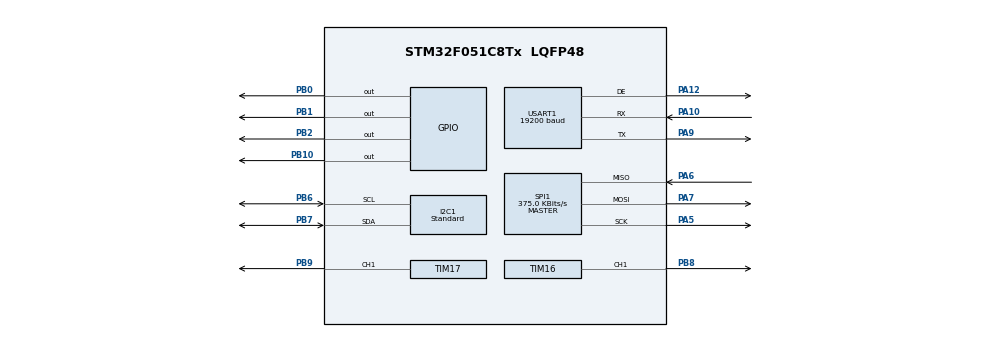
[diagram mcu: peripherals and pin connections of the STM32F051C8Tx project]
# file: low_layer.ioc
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ADC.ClockPrescaler=ADC_CLOCK_ASYNC_DIV1
ADC.ContinuousConvMode=DISABLE
ADC.DMAContinuousRequests=DISABLE
ADC.DataAlign=ADC_DATAALIGN_RIGHT
ADC.DiscontinuousConvMode=DISABLE
ADC.EOCSelection=ADC_EOC_SINGLE_CONV
ADC.EnableAnalogWatchDog=false
ADC.ExternalTrigConv=ADC_SOFTWARE_START
ADC.ExternalTrigConvEdge=ADC_EXTERNALTRIGCONVEDGE_NONE
ADC.LowPowerAutoPowerOff=DISABLE
ADC.LowPowerAutoWait=DISABLE
ADC.Overrun=ADC_OVR_DATA_PRESERVED
ADC.Resolution=ADC_RESOLUTION_10B
ADC.SamplingTime=ADC_SAMPLETIME_55CYCLES_5
ADC.ScanConvMode=ADC_SCAN_DIRECTION_FORWARD
I2C1.Analog_Filter=I2C_ANALOGFILTER_ENABLE
I2C1.I2C_Speed_Mode=I2C_Standard
I2C1.Timing=0x20303E5D
Mcu.Family=STM32F0
Mcu.Name=STM32F051C8Tx
Mcu.Package=LQFP48
NVIC.TIM6_DAC_IRQn=true\:0\:0\:false\:false\:true\:true
NVIC.USART1_IRQn=true\:0\:0\:false\:false\:true\:true
PA10.Mode=Asynchronous
PA10.Signal=USART1_RX
PA12.Mode=Hardware Flow Control (RS485)
PA12.Signal=USART1_DE
PA13.Mode=Serial_Wire
PA13.Signal=SYS_SWDIO
PA14.Mode=Serial_Wire
PA14.Signal=SYS_SWCLK
PA5.Mode=Full_Duplex_Master
PA5.Signal=SPI1_SCK
PA6.Mode=Full_Duplex_Master
PA6.Signal=SPI1_MISO
PA7.Mode=Full_Duplex_Master
PA7.Signal=SPI1_MOSI
PA9.Mode=Asynchronous
PA9.Signal=USART1_TX
PB0.Signal=GPIO_Output
PB1.Signal=GPIO_Output
PB10.Signal=GPIO_Output
PB2.Signal=GPIO_Output
PB6.Mode=I2C
PB6.Signal=I2C1_SCL
PB7.Mode=I2C
PB7.Signal=I2C1_SDA
PB8.Signal=S_TIM16_CH1
PB9.Signal=S_TIM17_CH1
PF0-OSC_IN.Mode=HSE-External-Oscillator
PF0-OSC_IN.Signal=RCC_OSC_IN
PF1-OSC_OUT.Mode=HSE-External-Oscillator
PF1-OSC_OUT.Signal=RCC_OSC_OUT
ProjectManager.HeapSize=0x200
ProjectManager.StackSize=0x400
ProjectManager.TargetToolchain=Other Toolchains (GPDSC)
RCC.AHBFreq_Value=48000000
RCC.APB1Freq_Value=48000000
RCC.APB1TimFreq_Value=48000000
RCC.FLatency=FLASH_LATENCY_1
RCC.HCLKFreq_Value=48000000
RCC.I2c1ClockSelection=RCC_I2C1CLKSOURCE_SYSCLK
RCC.PLLMUL=RCC_PLL_MUL6
RCC.PLLSourceVirtual=RCC_PLLSOURCE_HSE
RCC.SYSCLKFreq_VALUE=48000000
RCC.SYSCLKSource=RCC_SYSCLKSOURCE_PLLCLK
SH.S_TIM16_CH1.0=TIM16_CH1,PWM Generation1 CH1
SH.S_TIM17_CH1.0=TIM17_CH1,PWM Generation1 CH1
SPI1.BaudRatePrescaler=SPI_BAUDRATEPRESCALER_128
SPI1.CalculateBaudRate=375.0 KBits/s
SPI1.DataSize=SPI_DATASIZE_8BIT
SPI1.Direction=SPI_DIRECTION_2LINES
SPI1.Mode=SPI_MODE_MASTER
SPI1.NSSPMode=SPI_NSS_PULSE_DISABLE
SPI1.VirtualType=VM_MASTER
TIM16.Channel=TIM_CHANNEL_1
TIM16.Period=100
TIM16.Prescaler=480
TIM16.Pulse=50
TIM17.Channel=TIM_CHANNEL_1
TIM17.Period=100
TIM17.Pulse=50
USART1.BaudRate=19200
USART1.VirtualMode-Asynchronous=VM_ASYNC
USART1.VirtualMode-Hardware\ Flow\ Control\ (RS485)=VM_ASYNC
VP_ADC_TempSens_Input.Mode=IN-TempSens
VP_ADC_Vref_Input.Mode=IN-Vrefint
VP_RTC_VS_RTC_Activate.Mode=RTC_Enabled
VP_TIM16_VS_ClockSourceINT.Mode=Enable_Timer
VP_TIM17_VS_ClockSourceINT.Mode=Enable_Timer
VP_TIM6_VS_ClockSourceINT.Mode=Enable_Timer
VP_TIM6_VS_OPM.Mode=OPM_bit
board=custom

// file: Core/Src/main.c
/**
  ******************************************************************************
  * @file           : main.c
  * @brief          : Main program body
  ******************************************************************************
  ** This notice applies to any and all portions of this file
  * that are not between comment pairs USER CODE BEGIN and
  * USER CODE END. Other portions of this file, whether
  * inserted by the user or by software development tools
  * are owned by their respective copyright owners.
  *
  * COPYRIGHT(c) 2018 STMicroelectronics
  *
  * Redistribution and use in source and binary forms, with or without modification,
  * are permitted provided that the following conditions are met:
  *   1. Redistributions of source code must retain the above copyright notice,
  *      this list of conditions and the following disclaimer.
  *   2. Redistributions in binary form must reproduce the above copyright notice,
  *      this list of conditions and the following disclaimer in the documentation
  *      and/or other materials provided with the distribution.
  *   3. Neither the name of STMicroelectronics nor the names of its contributors
  *      may be used to endorse or promote products derived from this software
  *      without specific prior written permission.
  *
  * THIS SOFTWARE IS PROVIDED BY THE COPYRIGHT HOLDERS AND CONTRIBUTORS "AS IS"
  * AND ANY EXPRESS OR IMPLIED WARRANTIES, INCLUDING, BUT NOT LIMITED TO, THE
  * IMPLIED WARRANTIES OF MERCHANTABILITY AND FITNESS FOR A PARTICULAR PURPOSE ARE
  * DISCLAIMED. IN NO EVENT SHALL THE COPYRIGHT HOLDER OR CONTRIBUTORS BE LIABLE
  * FOR ANY DIRECT, INDIRECT, INCIDENTAL, SPECIAL, EXEMPLARY, OR CONSEQUENTIAL
  * DAMAGES (INCLUDING, BUT NOT LIMITED TO, PROCUREMENT OF SUBSTITUTE GOODS OR
  * SERVICES; LOSS OF USE, DATA, OR PROFITS; OR BUSINESS INTERRUPTION) HOWEVER
  * CAUSED AND ON ANY THEORY OF LIABILITY, WHETHER IN CONTRACT, STRICT LIABILITY,
  * OR TORT (INCLUDING NEGLIGENCE OR OTHERWISE) ARISING IN ANY WAY OUT OF THE USE
  * OF THIS SOFTWARE, EVEN IF ADVISED OF THE POSSIBILITY OF SUCH DAMAGE.
  *
  ******************************************************************************
  */
#include "main.h"

/* USER CODE BEGIN Includes */
#include "unicon.h"
#include "software.h"

#include "mb.h"
#include "user_mb_app.h"
/* USER CODE END Includes */

/* USER CODE BEGIN PV */
LL_USART_InitTypeDef USART_InitStruct;
LL_RTC_TimeTypeDef RTC_Time;
LL_RTC_DateTypeDef RTC_Date;

MbPortParams_TypeDef MbPortParams = {
    .Uart = MB_PORT_DEF,
    .ModbusActive = false,
    .MbAddr = { .pmbus = &usRegHoldingBuf[HR_MBADDR], .cvalue = MBADDR_DEF},
    .Baudrate = { .pmbus = &usRegHoldingBuf[HR_MBBAUDRATE], .cvalue = MBBAURATE_DEF },
    .Parity = { .pmbus = &usRegHoldingBuf[HR_MBPARITY], .cvalue = MBPARITY_DEF },
    .StopBits = { .pmbus = &usRegHoldingBuf[HR_MBSTOPBITS], .cvalue = MBSTOPBITS_DEF },
    .DataBits  = { .pmbus = NULL, .cvalue = MBWORDLENGHT_DEF }
}, qqq;

extern uint8_t UsartState; // 0-IDLE, 1-RXNE, 2-TC
extern uint8_t RxByte;
char HMI_CommandBuffer[30] = "123456789GASDFG";

/* EXTERNS -------------------------------------------------------------------*/
extern volatile uint32_t timestamp;

/* Private variables ---------------------------------------------------------*/
uint8_t ErrorCode = 0;

uint8_t rtc_second = 0, rtc_minute = 0, rtc_hour = 0;

uint8_t iic_buf[I2C_MEMORY_SIZE];

/* USER CODE END PV */

static void LL_Init(void);
void SystemClock_Config(void);
static void MX_GPIO_Init(void);
static void MX_USART1_UART_Init(void);
static void MX_TIM6_Init(void);
static void MX_SPI1_Init(void);
static void MX_RTC_Init(void);
static void MX_ADC_Init(void);
static void MX_TIM17_Init(void);
static void MX_TIM16_Init(void);
static void MX_I2C1_Init(void);

/* USER CODE BEGIN PFP */
/* Private function prototypes -----------------------------------------------*/

/* USER CODE END PFP */

int main(void)
{
  /* USER CODE BEGIN 1 */
    static volatile uint32_t delay = 0;

  /* USER CODE END 1 */

  /* MCU Configuration----------------------------------------------------------*/

  /* Reset of all peripherals, Initializes the Flash interface and the Systick. */
  LL_Init();

  /* Configure the system clock */
  SystemClock_Config();

  /* Initialize all configured peripherals */
  MX_GPIO_Init();
  MX_USART1_UART_Init();
  MX_TIM6_Init();
  MX_SPI1_Init();
  MX_RTC_Init();
  MX_ADC_Init();
  MX_TIM17_Init();
  MX_TIM16_Init();
  MX_I2C1_Init();
  /* USER CODE BEGIN 2 */

    HW_Init();

    //EEP24XX_WriteByte(EEADR_INITBYTE, 0xFF);

    //EEP24XX_Clear();
    EEP24XX_Read( 0, iic_buf, I2C_MEMORY_SIZE );

    //EEP24XX_Write( 256, &MbPortParams, sizeof(MbPortParams) );

    //EEP24XX_Read( 256, &qqq, sizeof(MbPortParams) );

    SW_SystemStart();

  /* USER CODE END 2 */

  /* Infinite loop */
  /* USER CODE BEGIN WHILE */

    while (1) {

        if(delay <= timestamp) {

            delay = timestamp + 500;

            LED2_ON();

            //USART_SendByte(0x55);
            //USART_SendString(HMI_CommandBuffer);

            USART_Send(&MbPortParams, sizeof(MbPortParams));

        }

  /* USER CODE END WHILE */

  /* USER CODE BEGIN 3 */
#if defined(MODBUS_ENABLE)
    (void)eMBPoll();
#endif
    }
  /* USER CODE END 3 */

}
static void LL_Init(void)
{

  LL_APB1_GRP2_EnableClock(LL_APB1_GRP2_PERIPH_SYSCFG);
  LL_APB1_GRP1_EnableClock(LL_APB1_GRP1_PERIPH_PWR);

  /* System interrupt init*/
  /* SVC_IRQn interrupt configuration */
  NVIC_SetPriority(SVC_IRQn, 0);
  /* PendSV_IRQn interrupt configuration */
  NVIC_SetPriority(PendSV_IRQn, 0);
  /* SysTick_IRQn interrupt configuration */
  NVIC_SetPriority(SysTick_IRQn, 0);

}

void SystemClock_Config(void)
{

  LL_FLASH_SetLatency(LL_FLASH_LATENCY_1);

  if(LL_FLASH_GetLatency() != LL_FLASH_LATENCY_1)
  {
  Error_Handler();
  }
  LL_RCC_HSE_Enable();

   /* Wait till HSE is ready */
  while(LL_RCC_HSE_IsReady() != 1)
  {

  }
  LL_RCC_HSI14_Enable();

   /* Wait till HSI14 is ready */
  while(LL_RCC_HSI14_IsReady() != 1)
  {

  }
  LL_RCC_HSI14_SetCalibTrimming(16);

  LL_RCC_LSI_Enable();

   /* Wait till LSI is ready */
  while(LL_RCC_LSI_IsReady() != 1)
  {

  }
  LL_PWR_EnableBkUpAccess();

  LL_RCC_ForceBackupDomainReset();

  LL_RCC_ReleaseBackupDomainReset();

  LL_RCC_SetRTCClockSource(LL_RCC_RTC_CLKSOURCE_LSI);

  LL_RCC_EnableRTC();

  LL_RCC_PLL_ConfigDomain_SYS(LL_RCC_PLLSOURCE_HSE_DIV_1, LL_RCC_PLL_MUL_6);

  LL_RCC_PLL_Enable();

   /* Wait till PLL is ready */
  while(LL_RCC_PLL_IsReady() != 1)
  {

  }
  LL_RCC_SetAHBPrescaler(LL_RCC_SYSCLK_DIV_1);

  LL_RCC_SetAPB1Prescaler(LL_RCC_APB1_DIV_1);

  LL_RCC_SetSysClkSource(LL_RCC_SYS_CLKSOURCE_PLL);

   /* Wait till System clock is ready */
  while(LL_RCC_GetSysClkSource() != LL_RCC_SYS_CLKSOURCE_STATUS_PLL)
  {

  }
  LL_Init1msTick(48000000);

  LL_SYSTICK_SetClkSource(LL_SYSTICK_CLKSOURCE_HCLK);

  LL_SetSystemCoreClock(48000000);

  LL_RCC_HSI14_EnableADCControl();

  LL_RCC_SetUSARTClockSource(LL_RCC_USART1_CLKSOURCE_PCLK1);

  LL_RCC_SetI2CClockSource(LL_RCC_I2C1_CLKSOURCE_SYSCLK);

  /* SysTick_IRQn interrupt configuration */
  NVIC_SetPriority(SysTick_IRQn, 0);
}

/* ADC init function */
static void MX_ADC_Init(void)
{

  LL_ADC_InitTypeDef ADC_InitStruct;
  LL_ADC_REG_InitTypeDef ADC_REG_InitStruct;

  /* Peripheral clock enable */
  LL_APB1_GRP2_EnableClock(LL_APB1_GRP2_PERIPH_ADC1);

    /**Configure Regular Channel
    */
  LL_ADC_REG_SetSequencerChAdd(ADC1, LL_ADC_CHANNEL_TEMPSENSOR);

  LL_ADC_SetCommonPathInternalCh(__LL_ADC_COMMON_INSTANCE(ADC1), LL_ADC_PATH_INTERNAL_TEMPSENSOR);

    /**Configure Regular Channel
    */
  LL_ADC_REG_SetSequencerChAdd(ADC1, LL_ADC_CHANNEL_VREFINT);

  LL_ADC_SetCommonPathInternalCh(__LL_ADC_COMMON_INSTANCE(ADC1), LL_ADC_PATH_INTERNAL_VREFINT);

    /**Configure the global features of the ADC (Clock, Resolution, Data Alignment and number of conversion)
    */
  ADC_InitStruct.Clock = LL_ADC_CLOCK_ASYNC;
  ADC_InitStruct.Resolution = LL_ADC_RESOLUTION_10B;
  ADC_InitStruct.DataAlignment = LL_ADC_DATA_ALIGN_RIGHT;
  ADC_InitStruct.LowPowerMode = LL_ADC_LP_MODE_NONE;
  LL_ADC_Init(ADC1, &ADC_InitStruct);

  ADC_REG_InitStruct.TriggerSource = LL_ADC_REG_TRIG_SOFTWARE;
  ADC_REG_InitStruct.SequencerDiscont = LL_ADC_REG_SEQ_DISCONT_DISABLE;
  ADC_REG_InitStruct.ContinuousMode = LL_ADC_REG_CONV_SINGLE;
  ADC_REG_InitStruct.DMATransfer = LL_ADC_REG_DMA_TRANSFER_LIMITED;
  ADC_REG_InitStruct.Overrun = LL_ADC_REG_OVR_DATA_PRESERVED;
  LL_ADC_REG_Init(ADC1, &ADC_REG_InitStruct);

  LL_ADC_REG_SetSequencerScanDirection(ADC1, LL_ADC_REG_SEQ_SCAN_DIR_FORWARD);

  LL_ADC_SetSamplingTimeCommonChannels(ADC1, LL_ADC_SAMPLINGTIME_55CYCLES_5);

  LL_ADC_DisableIT_EOC(ADC1);

  LL_ADC_DisableIT_EOS(ADC1);

}

/* I2C1 init function */
static void MX_I2C1_Init(void)
{

  LL_I2C_InitTypeDef I2C_InitStruct;

  LL_GPIO_InitTypeDef GPIO_InitStruct;

  /**I2C1 GPIO Configuration
  PB6   ------> I2C1_SCL
  PB7   ------> I2C1_SDA
  */
  GPIO_InitStruct.Pin = LL_GPIO_PIN_6;
  GPIO_InitStruct.Mode = LL_GPIO_MODE_ALTERNATE;
  GPIO_InitStruct.Speed = LL_GPIO_SPEED_FREQ_HIGH;
  GPIO_InitStruct.OutputType = LL_GPIO_OUTPUT_OPENDRAIN;
  GPIO_InitStruct.Pull = LL_GPIO_PULL_UP;
  GPIO_InitStruct.Alternate = LL_GPIO_AF_1;
  LL_GPIO_Init(GPIOB, &GPIO_InitStruct);

  GPIO_InitStruct.Pin = LL_GPIO_PIN_7;
  GPIO_InitStruct.Mode = LL_GPIO_MODE_ALTERNATE;
  GPIO_InitStruct.Speed = LL_GPIO_SPEED_FREQ_HIGH;
  GPIO_InitStruct.OutputType = LL_GPIO_OUTPUT_OPENDRAIN;
  GPIO_InitStruct.Pull = LL_GPIO_PULL_UP;
  GPIO_InitStruct.Alternate = LL_GPIO_AF_1;
  LL_GPIO_Init(GPIOB, &GPIO_InitStruct);

  /* Peripheral clock enable */
  LL_APB1_GRP1_EnableClock(LL_APB1_GRP1_PERIPH_I2C1);

    /**I2C Initialization
    */

  LL_I2C_DisableOwnAddress2(I2C1);

  LL_I2C_DisableGeneralCall(I2C1);

  LL_I2C_EnableClockStretching(I2C1);

  I2C_InitStruct.PeripheralMode = LL_I2C_MODE_I2C;
  I2C_InitStruct.Timing = 0x20303E5D;
  I2C_InitStruct.AnalogFilter = LL_I2C_ANALOGFILTER_ENABLE;
  I2C_InitStruct.DigitalFilter = 0;
  I2C_InitStruct.OwnAddress1 = 0;
  I2C_InitStruct.TypeAcknowledge = LL_I2C_ACK;
  I2C_InitStruct.OwnAddrSize = LL_I2C_OWNADDRESS1_7BIT;
  LL_I2C_Init(I2C1, &I2C_InitStruct);

  LL_I2C_EnableAutoEndMode(I2C1);

  LL_I2C_SetOwnAddress2(I2C1, 0, LL_I2C_OWNADDRESS2_NOMASK);

}

/* RTC init function */
static void MX_RTC_Init(void)
{

  LL_RTC_InitTypeDef RTC_InitStruct;

  /* Peripheral clock enable */
  LL_RCC_EnableRTC();

    /**Initialize RTC and set the Time and Date
    */
  RTC_InitStruct.HourFormat = LL_RTC_HOURFORMAT_24HOUR;
  RTC_InitStruct.AsynchPrescaler = 127;
  RTC_InitStruct.SynchPrescaler = 255;
  LL_RTC_Init(RTC, &RTC_InitStruct);

  LL_RTC_SetAsynchPrescaler(RTC, 127);

  LL_RTC_SetSynchPrescaler(RTC, 255);

}

/* SPI1 init function */
static void MX_SPI1_Init(void)
{

  LL_SPI_InitTypeDef SPI_InitStruct;

  LL_GPIO_InitTypeDef GPIO_InitStruct;

  /* Peripheral clock enable */
  LL_APB1_GRP2_EnableClock(LL_APB1_GRP2_PERIPH_SPI1);

  /**SPI1 GPIO Configuration
  PA5   ------> SPI1_SCK
  PA6   ------> SPI1_MISO
  PA7   ------> SPI1_MOSI
  */
  GPIO_InitStruct.Pin = LL_GPIO_PIN_5;
  GPIO_InitStruct.Mode = LL_GPIO_MODE_ALTERNATE;
  GPIO_InitStruct.Speed = LL_GPIO_SPEED_FREQ_HIGH;
  GPIO_InitStruct.OutputType = LL_GPIO_OUTPUT_PUSHPULL;
  GPIO_InitStruct.Pull = LL_GPIO_PULL_NO;
  GPIO_InitStruct.Alternate = LL_GPIO_AF_0;
  LL_GPIO_Init(GPIOA, &GPIO_InitStruct);

  GPIO_InitStruct.Pin = LL_GPIO_PIN_6;
  GPIO_InitStruct.Mode = LL_GPIO_MODE_ALTERNATE;
  GPIO_InitStruct.Speed = LL_GPIO_SPEED_FREQ_HIGH;
  GPIO_InitStruct.OutputType = LL_GPIO_OUTPUT_PUSHPULL;
  GPIO_InitStruct.Pull = LL_GPIO_PULL_NO;
  GPIO_InitStruct.Alternate = LL_GPIO_AF_0;
  LL_GPIO_Init(GPIOA, &GPIO_InitStruct);

  GPIO_InitStruct.Pin = LL_GPIO_PIN_7;
  GPIO_InitStruct.Mode = LL_GPIO_MODE_ALTERNATE;
  GPIO_InitStruct.Speed = LL_GPIO_SPEED_FREQ_HIGH;
  GPIO_InitStruct.OutputType = LL_GPIO_OUTPUT_PUSHPULL;
  GPIO_InitStruct.Pull = LL_GPIO_PULL_NO;
  GPIO_InitStruct.Alternate = LL_GPIO_AF_0;
  LL_GPIO_Init(GPIOA, &GPIO_InitStruct);

  /* SPI1 parameter configuration*/
  SPI_InitStruct.TransferDirection = LL_SPI_FULL_DUPLEX;
  SPI_InitStruct.Mode = LL_SPI_MODE_MASTER;
  SPI_InitStruct.DataWidth = LL_SPI_DATAWIDTH_8BIT;
  SPI_InitStruct.ClockPolarity = LL_SPI_POLARITY_LOW;
  SPI_InitStruct.ClockPhase = LL_SPI_PHASE_1EDGE;
  SPI_InitStruct.NSS = LL_SPI_NSS_SOFT;
  SPI_InitStruct.BaudRate = LL_SPI_BAUDRATEPRESCALER_DIV128;
  SPI_InitStruct.BitOrder = LL_SPI_MSB_FIRST;
  SPI_InitStruct.CRCCalculation = LL_SPI_CRCCALCULATION_DISABLE;
  SPI_InitStruct.CRCPoly = 7;
  LL_SPI_Init(SPI1, &SPI_InitStruct);

  LL_SPI_SetStandard(SPI1, LL_SPI_PROTOCOL_MOTOROLA);

  LL_SPI_DisableNSSPulseMgt(SPI1);

}

/* TIM6 init function */
static void MX_TIM6_Init(void)
{

  LL_TIM_InitTypeDef TIM_InitStruct;

  /* Peripheral clock enable */
  LL_APB1_GRP1_EnableClock(LL_APB1_GRP1_PERIPH_TIM6);

  /* TIM6 interrupt Init */
  NVIC_SetPriority(TIM6_DAC_IRQn, 0);
  NVIC_EnableIRQ(TIM6_DAC_IRQn);

  TIM_InitStruct.Prescaler = 0;
  TIM_InitStruct.CounterMode = LL_TIM_COUNTERMODE_UP;
  TIM_InitStruct.Autoreload = 0;
  LL_TIM_Init(TIM6, &TIM_InitStruct);

  LL_TIM_DisableARRPreload(TIM6);

  LL_TIM_SetOnePulseMode(TIM6, LL_TIM_ONEPULSEMODE_SINGLE);

  LL_TIM_SetTriggerOutput(TIM6, LL_TIM_TRGO_RESET);

  LL_TIM_DisableMasterSlaveMode(TIM6);

}

/* TIM16 init function */
static void MX_TIM16_Init(void)
{

  LL_TIM_InitTypeDef TIM_InitStruct;
  LL_TIM_OC_InitTypeDef TIM_OC_InitStruct;
  LL_TIM_BDTR_InitTypeDef TIM_BDTRInitStruct;

  LL_GPIO_InitTypeDef GPIO_InitStruct;

  /* Peripheral clock enable */
  LL_APB1_GRP2_EnableClock(LL_APB1_GRP2_PERIPH_TIM16);

  TIM_InitStruct.Prescaler = 480;
  TIM_InitStruct.CounterMode = LL_TIM_COUNTERMODE_UP;
  TIM_InitStruct.Autoreload = 100;
  TIM_InitStruct.ClockDivision = LL_TIM_CLOCKDIVISION_DIV1;
  TIM_InitStruct.RepetitionCounter = 0;
  LL_TIM_Init(TIM16, &TIM_InitStruct);

  LL_TIM_DisableARRPreload(TIM16);

  LL_TIM_OC_EnablePreload(TIM16, LL_TIM_CHANNEL_CH1);

  TIM_OC_InitStruct.OCMode = LL_TIM_OCMODE_PWM1;
  TIM_OC_InitStruct.OCState = LL_TIM_OCSTATE_DISABLE;
  TIM_OC_InitStruct.OCNState = LL_TIM_OCSTATE_DISABLE;
  TIM_OC_InitStruct.CompareValue = 50;
  TIM_OC_InitStruct.OCPolarity = LL_TIM_OCPOLARITY_HIGH;
  TIM_OC_InitStruct.OCNPolarity = LL_TIM_OCPOLARITY_HIGH;
  TIM_OC_InitStruct.OCIdleState = LL_TIM_OCIDLESTATE_LOW;
  TIM_OC_InitStruct.OCNIdleState = LL_TIM_OCIDLESTATE_LOW;
  LL_TIM_OC_Init(TIM16, LL_TIM_CHANNEL_CH1, &TIM_OC_InitStruct);

  LL_TIM_OC_DisableFast(TIM16, LL_TIM_CHANNEL_CH1);

  TIM_BDTRInitStruct.OSSRState = LL_TIM_OSSR_DISABLE;
  TIM_BDTRInitStruct.OSSIState = LL_TIM_OSSI_DISABLE;
  TIM_BDTRInitStruct.LockLevel = LL_TIM_LOCKLEVEL_OFF;
  TIM_BDTRInitStruct.DeadTime = 0;
  TIM_BDTRInitStruct.BreakState = LL_TIM_BREAK_DISABLE;
  TIM_BDTRInitStruct.BreakPolarity = LL_TIM_BREAK_POLARITY_HIGH;
  TIM_BDTRInitStruct.AutomaticOutput = LL_TIM_AUTOMATICOUTPUT_DISABLE;
  LL_TIM_BDTR_Init(TIM16, &TIM_BDTRInitStruct);

  /**TIM16 GPIO Configuration
  PB8   ------> TIM16_CH1
  */
  GPIO_InitStruct.Pin = LL_GPIO_PIN_8;
  GPIO_InitStruct.Mode = LL_GPIO_MODE_ALTERNATE;
  GPIO_InitStruct.Speed = LL_GPIO_SPEED_FREQ_LOW;
  GPIO_InitStruct.OutputType = LL_GPIO_OUTPUT_PUSHPULL;
  GPIO_InitStruct.Pull = LL_GPIO_PULL_NO;
  GPIO_InitStruct.Alternate = LL_GPIO_AF_2;
  LL_GPIO_Init(GPIOB, &GPIO_InitStruct);

}

/* TIM17 init function */
static void MX_TIM17_Init(void)
{

  LL_TIM_InitTypeDef TIM_InitStruct;
  LL_TIM_OC_InitTypeDef TIM_OC_InitStruct;
  LL_TIM_BDTR_InitTypeDef TIM_BDTRInitStruct;

  LL_GPIO_InitTypeDef GPIO_InitStruct;

  /* Peripheral clock enable */
  LL_APB1_GRP2_EnableClock(LL_APB1_GRP2_PERIPH_TIM17);

  TIM_InitStruct.Prescaler = 0;
  TIM_InitStruct.CounterMode = LL_TIM_COUNTERMODE_UP;
  TIM_InitStruct.Autoreload = 100;
  TIM_InitStruct.ClockDivision = LL_TIM_CLOCKDIVISION_DIV1;
  TIM_InitStruct.RepetitionCounter = 0;
  LL_TIM_Init(TIM17, &TIM_InitStruct);

  LL_TIM_DisableARRPreload(TIM17);

  LL_TIM_OC_EnablePreload(TIM17, LL_TIM_CHANNEL_CH1);

  TIM_OC_InitStruct.OCMode = LL_TIM_OCMODE_PWM1;
  TIM_OC_InitStruct.OCState = LL_TIM_OCSTATE_DISABLE;
  TIM_OC_InitStruct.OCNState = LL_TIM_OCSTATE_DISABLE;
  TIM_OC_InitStruct.CompareValue = 50;
  TIM_OC_InitStruct.OCPolarity = LL_TIM_OCPOLARITY_HIGH;
  TIM_OC_InitStruct.OCNPolarity = LL_TIM_OCPOLARITY_HIGH;
  TIM_OC_InitStruct.OCIdleState = LL_TIM_OCIDLESTATE_LOW;
  TIM_OC_InitStruct.OCNIdleState = LL_TIM_OCIDLESTATE_LOW;
  LL_TIM_OC_Init(TIM17, LL_TIM_CHANNEL_CH1, &TIM_OC_InitStruct);

  LL_TIM_OC_DisableFast(TIM17, LL_TIM_CHANNEL_CH1);

  TIM_BDTRInitStruct.OSSRState = LL_TIM_OSSR_DISABLE;
  TIM_BDTRInitStruct.OSSIState = LL_TIM_OSSI_DISABLE;
  TIM_BDTRInitStruct.LockLevel = LL_TIM_LOCKLEVEL_OFF;
  TIM_BDTRInitStruct.DeadTime = 0;
  TIM_BDTRInitStruct.BreakState = LL_TIM_BREAK_DISABLE;
  TIM_BDTRInitStruct.BreakPolarity = LL_TIM_BREAK_POLARITY_HIGH;
  TIM_BDTRInitStruct.AutomaticOutput = LL_TIM_AUTOMATICOUTPUT_DISABLE;
  LL_TIM_BDTR_Init(TIM17, &TIM_BDTRInitStruct);

  /**TIM17 GPIO Configuration
  PB9   ------> TIM17_CH1
  */
  GPIO_InitStruct.Pin = LL_GPIO_PIN_9;
  GPIO_InitStruct.Mode = LL_GPIO_MODE_ALTERNATE;
  GPIO_InitStruct.Speed = LL_GPIO_SPEED_FREQ_LOW;
  GPIO_InitStruct.OutputType = LL_GPIO_OUTPUT_PUSHPULL;
  GPIO_InitStruct.Pull = LL_GPIO_PULL_NO;
  GPIO_InitStruct.Alternate = LL_GPIO_AF_2;
  LL_GPIO_Init(GPIOB, &GPIO_InitStruct);

}

/* USART1 init function */
static void MX_USART1_UART_Init(void)
{

  LL_USART_InitTypeDef USART_InitStruct;

  LL_GPIO_InitTypeDef GPIO_InitStruct;

  /* Peripheral clock enable */
  LL_APB1_GRP2_EnableClock(LL_APB1_GRP2_PERIPH_USART1);

  /**USART1 GPIO Configuration
  PA9   ------> USART1_TX
  PA10   ------> USART1_RX
  PA12   ------> USART1_DE
  */
  GPIO_InitStruct.Pin = LL_GPIO_PIN_9;
  GPIO_InitStruct.Mode = LL_GPIO_MODE_ALTERNATE;
  GPIO_InitStruct.Speed = LL_GPIO_SPEED_FREQ_HIGH;
  GPIO_InitStruct.OutputType = LL_GPIO_OUTPUT_PUSHPULL;
  GPIO_InitStruct.Pull = LL_GPIO_PULL_NO;
  GPIO_InitStruct.Alternate = LL_GPIO_AF_1;
  LL_GPIO_Init(GPIOA, &GPIO_InitStruct);

  GPIO_InitStruct.Pin = LL_GPIO_PIN_10;
  GPIO_InitStruct.Mode = LL_GPIO_MODE_ALTERNATE;
  GPIO_InitStruct.Speed = LL_GPIO_SPEED_FREQ_HIGH;
  GPIO_InitStruct.OutputType = LL_GPIO_OUTPUT_PUSHPULL;
  GPIO_InitStruct.Pull = LL_GPIO_PULL_NO;
  GPIO_InitStruct.Alternate = LL_GPIO_AF_1;
  LL_GPIO_Init(GPIOA, &GPIO_InitStruct);

  GPIO_InitStruct.Pin = LL_GPIO_PIN_12;
  GPIO_InitStruct.Mode = LL_GPIO_MODE_ALTERNATE;
  GPIO_InitStruct.Speed = LL_GPIO_SPEED_FREQ_HIGH;
  GPIO_InitStruct.OutputType = LL_GPIO_OUTPUT_PUSHPULL;
  GPIO_InitStruct.Pull = LL_GPIO_PULL_NO;
  GPIO_InitStruct.Alternate = LL_GPIO_AF_1;
  LL_GPIO_Init(GPIOA, &GPIO_InitStruct);

  /* USART1 interrupt Init */
  NVIC_SetPriority(USART1_IRQn, 0);
  NVIC_EnableIRQ(USART1_IRQn);

  USART_InitStruct.BaudRate = 19200;
  USART_InitStruct.DataWidth = LL_USART_DATAWIDTH_8B;
  USART_InitStruct.StopBits = LL_USART_STOPBITS_1;
  USART_InitStruct.Parity = LL_USART_PARITY_NONE;
  USART_InitStruct.TransferDirection = LL_USART_DIRECTION_TX_RX;
  USART_InitStruct.HardwareFlowControl = LL_USART_HWCONTROL_NONE;
  USART_InitStruct.OverSampling = LL_USART_OVERSAMPLING_16;
  LL_USART_Init(USART1, &USART_InitStruct);

  LL_USART_EnableDEMode(USART1);

  LL_USART_SetDESignalPolarity(USART1, LL_USART_DE_POLARITY_HIGH);

  LL_USART_SetDEAssertionTime(USART1, 0);

  LL_USART_SetDEDeassertionTime(USART1, 0);

  LL_USART_DisableOverrunDetect(USART1);

  LL_USART_ConfigAsyncMode(USART1);

  LL_USART_Enable(USART1);

}

/** Configure pins as
        * Analog
        * Input
        * Output
        * EVENT_OUT
        * EXTI
*/
static void MX_GPIO_Init(void)
{

  LL_GPIO_InitTypeDef GPIO_InitStruct;

  /* GPIO Ports Clock Enable */
  LL_AHB1_GRP1_EnableClock(LL_AHB1_GRP1_PERIPH_GPIOF);
  LL_AHB1_GRP1_EnableClock(LL_AHB1_GRP1_PERIPH_GPIOA);
  LL_AHB1_GRP1_EnableClock(LL_AHB1_GRP1_PERIPH_GPIOB);

  /**/
  LL_GPIO_ResetOutputPin(GPIOB, LL_GPIO_PIN_0);

  /**/
  LL_GPIO_ResetOutputPin(GPIOB, LL_GPIO_PIN_1);

  /**/
  LL_GPIO_ResetOutputPin(GPIOB, LL_GPIO_PIN_2);

  /**/
  LL_GPIO_ResetOutputPin(GPIOB, LL_GPIO_PIN_10);

  /**/
  GPIO_InitStruct.Pin = LL_GPIO_PIN_0;
  GPIO_InitStruct.Mode = LL_GPIO_MODE_OUTPUT;
  GPIO_InitStruct.Speed = LL_GPIO_SPEED_FREQ_LOW;
  GPIO_InitStruct.OutputType = LL_GPIO_OUTPUT_PUSHPULL;
  GPIO_InitStruct.Pull = LL_GPIO_PULL_NO;
  LL_GPIO_Init(GPIOB, &GPIO_InitStruct);

  /**/
  GPIO_InitStruct.Pin = LL_GPIO_PIN_1;
  GPIO_InitStruct.Mode = LL_GPIO_MODE_OUTPUT;
  GPIO_InitStruct.Speed = LL_GPIO_SPEED_FREQ_LOW;
  GPIO_InitStruct.OutputType = LL_GPIO_OUTPUT_PUSHPULL;
  GPIO_InitStruct.Pull = LL_GPIO_PULL_NO;
  LL_GPIO_Init(GPIOB, &GPIO_InitStruct);

  /**/
  GPIO_InitStruct.Pin = LL_GPIO_PIN_2;
  GPIO_InitStruct.Mode = LL_GPIO_MODE_OUTPUT;
  GPIO_InitStruct.Speed = LL_GPIO_SPEED_FREQ_LOW;
  GPIO_InitStruct.OutputType = LL_GPIO_OUTPUT_PUSHPULL;
  GPIO_InitStruct.Pull = LL_GPIO_PULL_NO;
  LL_GPIO_Init(GPIOB, &GPIO_InitStruct);

  /**/
  GPIO_InitStruct.Pin = LL_GPIO_PIN_10;
  GPIO_InitStruct.Mode = LL_GPIO_MODE_OUTPUT;
  GPIO_InitStruct.Speed = LL_GPIO_SPEED_FREQ_LOW;
  GPIO_InitStruct.OutputType = LL_GPIO_OUTPUT_PUSHPULL;
  GPIO_InitStruct.Pull = LL_GPIO_PULL_NO;
  LL_GPIO_Init(GPIOB, &GPIO_InitStruct);

}

void _Error_Handler(char *file, int line)
{
    while(1) {
    }
}

/************************ (C) COPYRIGHT STMicroelectronics *****END OF FILE****/
